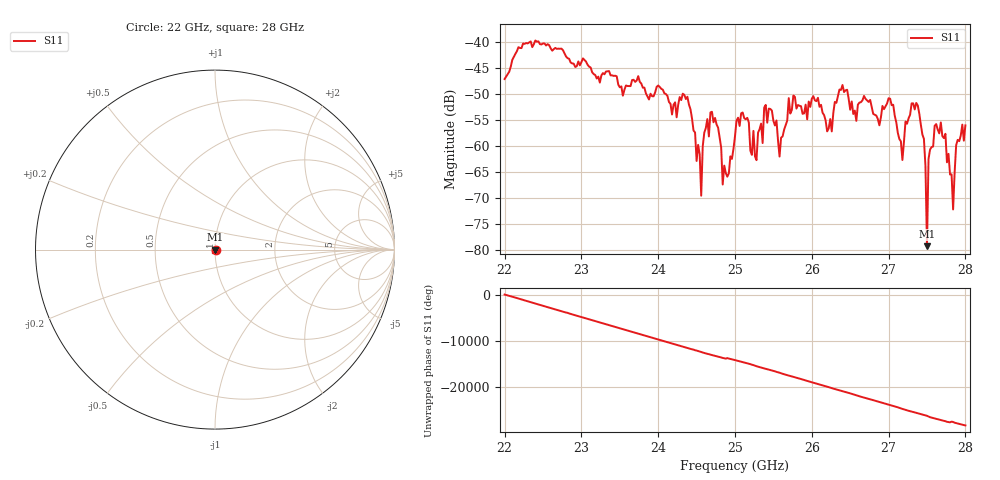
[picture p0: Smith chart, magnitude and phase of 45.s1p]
#  HZ  S  RI  R  50.00
! Rohde & Schwarz ZVA40 4Ports - Version 3.90 - 1145.1110k42 SN: 100403
! Date: 2023-10-04 10:41:16
! Measurement: S12
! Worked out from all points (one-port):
!   301 points, 22 GHz to 28 GHz, reference 50 ohm
!   lowest |S11| = -79.3 dB at 27.5 GHz (marker M1), VSWR 1.00, Z = 50 + j0.00824 ohm
!   |S11| at or under -10 dB: start of sweep to end of sweep
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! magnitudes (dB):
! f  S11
! 22 GHz  -47.1
! 22.76 GHz  -41.6
! 23.5 GHz  -48.7
! 24.26 GHz  -52.1
! 24.38 GHz  -50.5
! 24.54 GHz  -61.6
! 24.56 GHz  -69.6
! 24.58 GHz  -60.1
! 24.68 GHz  -53.6
! 24.84 GHz  -67.5
! 25 GHz  -58.2
! 25.1 GHz  -53.6
! 25.28 GHz  -62.8
! 25.4 GHz  -52.1
! 25.58 GHz  -62.1
! 25.76 GHz  -50.3
! 26.5 GHz  -53.1
! 27.02 GHz  -50.9
! 27.18 GHz  -62.7
! 27.26 GHz  -54.7
! 27.46 GHz  -58.7
! 27.5 GHz  -79.3
! 27.52 GHz  -62.5
! 27.6 GHz  -56.1
! 27.74 GHz  -57.7
! 27.84 GHz  -72.3
! 27.88 GHz  -59.8
! 28 GHz  -56.1
